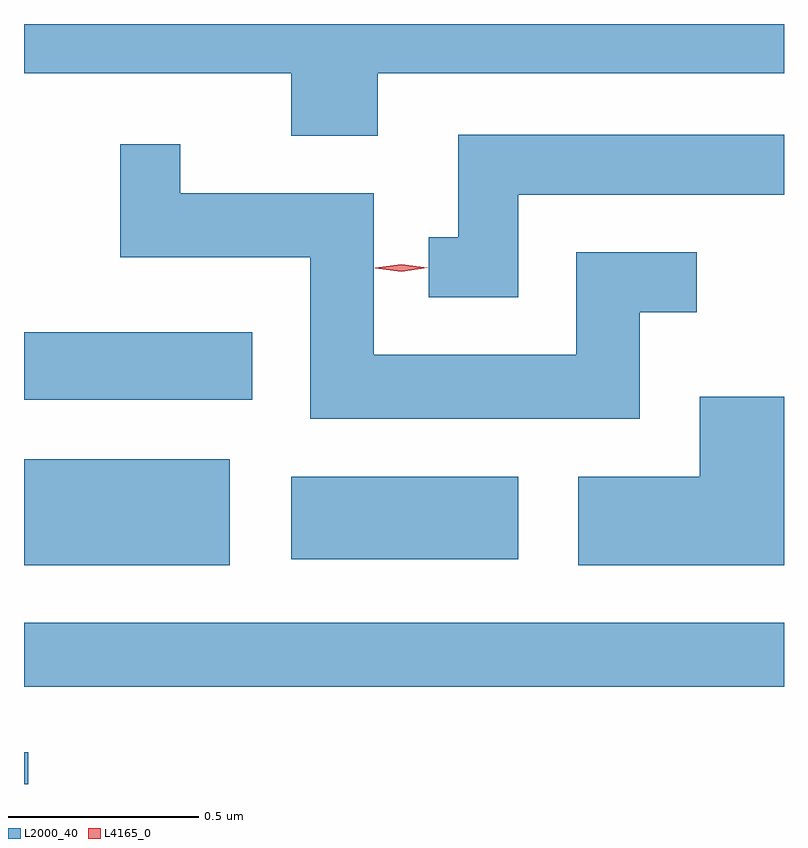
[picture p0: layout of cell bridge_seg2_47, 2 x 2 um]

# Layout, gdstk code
import gdstk
lib = gdstk.Library(unit=1e-6, precision=1e-09)
def R(c, l, rs):  # rectangles x0, y0, x1, y1
    for r in rs: c.add(gdstk.rectangle(r[:2], r[2:], *l))
def P(c, l, *ps):  # polygons
    for p in ps: c.add(gdstk.Polygon(p, *l))
L2000_40 = (2000, 40)
L4165_0 = (4165, 0)

bridge_seg2_47 = lib.new_cell('bridge_seg2_47')
R(bridge_seg2_47, L2000_40, [(1406.318,1050.885,1406.329,1050.969), (1406.318,1051.141,1408.318,1051.309), (1406.318,1051.461,1406.859,1051.739), (1407.021,1051.476,1407.619,1051.694), (1406.318,1051.896,1406.919,1052.074)])
P(bridge_seg2_47, L2000_40, [(1407.249,1052.756),(1408.318,1052.756),(1408.318,1052.885),(1406.318,1052.885),(1406.318,1052.756),(1407.021,1052.756),(1407.021,1052.591),(1407.249,1052.591)],
  [(1407.619,1052.436),(1408.318,1052.436),(1408.318,1052.594),(1407.461,1052.594),(1407.461,1052.324),(1407.383,1052.324),(1407.383,1052.166),(1407.619,1052.166)],
  [(1407.939,1052.126),(1408.088,1052.126),(1408.088,1052.284),(1407.771,1052.284),(1407.771,1052.014),(1407.239,1052.014),(1407.239,1052.439),(1406.729,1052.439),(1406.729,1052.568),(1406.571,1052.568),(1406.571,1052.271),(1407.071,1052.271),(1407.071,1051.846),(1407.939,1051.846)],
  [(1408.318,1051.904),(1408.096,1051.904),(1408.096,1051.694),(1407.776,1051.694),(1407.776,1051.461),(1408.318,1051.461)])
P(bridge_seg2_47, L4165_0, [(1407.311,1052.233),(1407.242,1052.242),(1407.242,1052.243),(1407.242,1052.243),(1407.311,1052.253),(1407.381,1052.244),(1407.381,1052.244),(1407.381,1052.243)])

lib.write_gds('bridge_seg2_47.gds')
